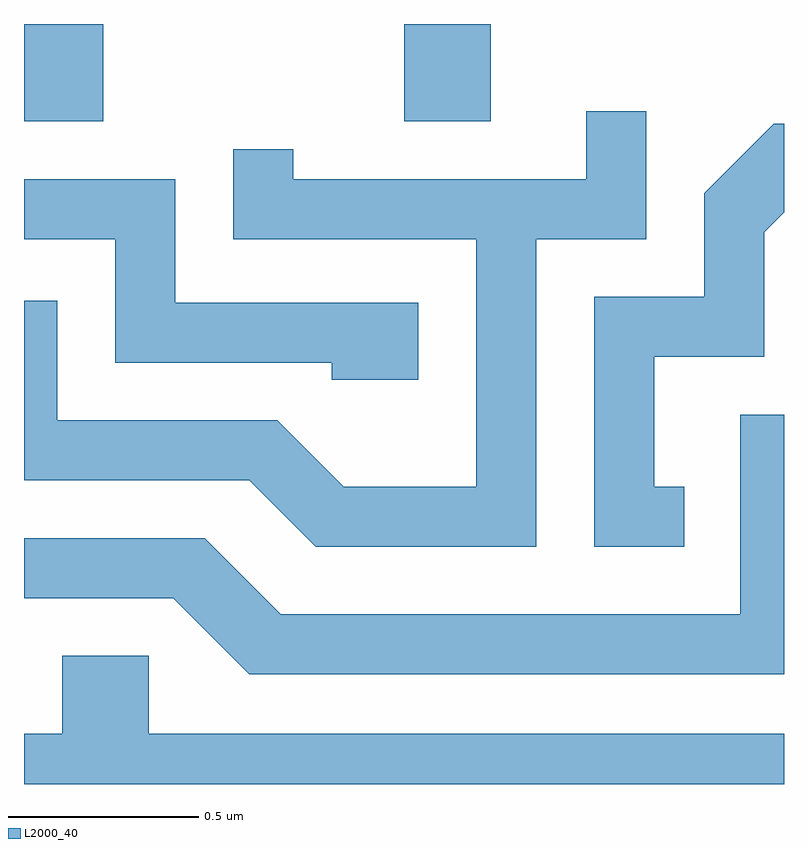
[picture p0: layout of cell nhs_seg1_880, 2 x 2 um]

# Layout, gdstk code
import gdstk
lib = gdstk.Library(unit=1e-6, precision=1e-09)
def R(c, l, rs):  # rectangles x0, y0, x1, y1
    for r in rs: c.add(gdstk.rectangle(r[:2], r[2:], *l))
def P(c, l, *ps):  # polygons
    for p in ps: c.add(gdstk.Polygon(p, *l))
L2000_40 = (2000, 40)

nhs_seg1_880 = lib.new_cell('nhs_seg1_880')
R(nhs_seg1_880, L2000_40, [(191.611,901.456,191.819,901.712), (192.611,901.456,192.839,901.712)])
P(nhs_seg1_880, L2000_40, [(192.959,901.146),(193.249,901.146),(193.249,901.483),(193.091,901.483),(193.091,901.304),(192.319,901.304),(192.319,901.383),(192.161,901.383),(192.161,901.146),(192.801,901.146),(192.801,900.494),(192.452,900.494),(192.277,900.669),(191.699,900.669),(191.699,900.984),(191.611,900.984),(191.611,900.511),(192.204,900.511),(192.379,900.336),(192.959,900.336)],
  [(193.348,900.494),(193.269,900.494),(193.269,900.836),(193.559,900.836),(193.559,901.164),(193.611,901.216),(193.611,901.449),(193.584,901.449),(193.401,901.267),(193.401,900.994),(193.111,900.994),(193.111,900.336),(193.348,900.336)],
  [(192.649,900.979),(192.009,900.979),(192.009,901.304),(191.611,901.304),(191.611,901.146),(191.851,901.146),(191.851,900.821),(192.421,900.821),(192.421,900.776),(192.649,900.776)],
  [(193.611,900.684),(193.496,900.684),(193.496,900.159),(192.287,900.159),(192.087,900.359),(191.611,900.359),(191.611,900.201),(192.004,900.201),(192.204,900.001),(193.611,900.001)],
  [(193.611,899.844),(191.939,899.844),(191.939,900.049),(191.711,900.049),(191.711,899.844),(191.611,899.844),(191.611,899.712),(193.611,899.712)])

lib.write_gds('nhs_seg1_880.gds')
